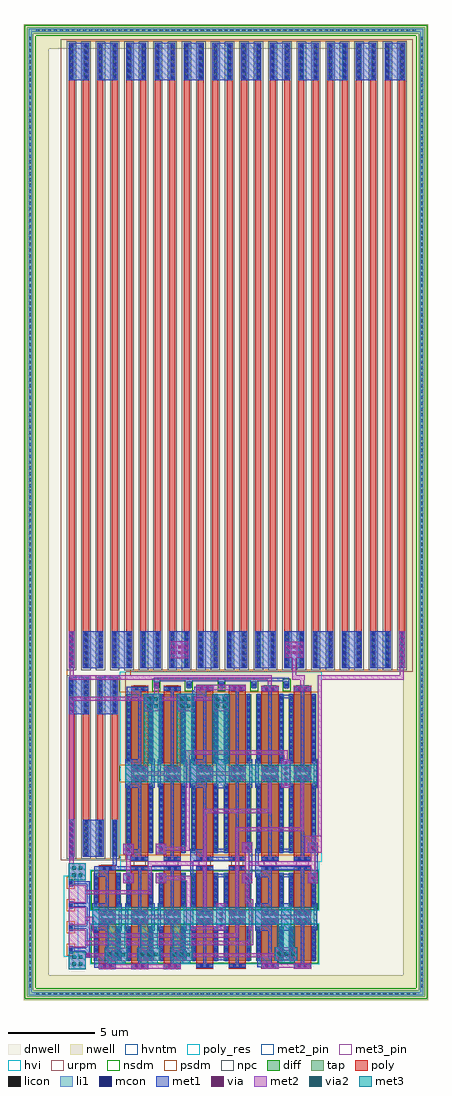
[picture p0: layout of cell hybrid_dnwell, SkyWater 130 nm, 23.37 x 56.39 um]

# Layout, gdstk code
import gdstk
lib = gdstk.Library(unit=1e-6, precision=1e-09)
def R(c, l, rs):  # rectangles x0, y0, x1, y1
    for r in rs: c.add(gdstk.rectangle(r[:2], r[2:], *l))
def A(c, l, x, y, w, h, nx, ny, dx, dy):  # array of equal rectangles
    R(c, l, [(x+i*dx, y+j*dy, x+i*dx+w, y+j*dy+h) for i in range(nx) for j in range(ny)])
dnwell = (64, 18)
nwell = (64, 20)
diff = (65, 20)
tap = (65, 44)
poly_res = (66, 13)
poly = (66, 20)
licon = (66, 44)
li1 = (67, 20)
mcon = (67, 44)
met1 = (68, 20)
via = (68, 44)
met2_pin = (69, 16)
met2 = (69, 20)
via2 = (69, 44)
met3_pin = (70, 16)
met3 = (70, 20)
hvi = (75, 20)
urpm = (79, 20)
nsdm = (93, 44)
psdm = (94, 20)
npc = (95, 20)
hvntm = (125, 20)

sky130_fd_pr__res_xhigh_ = lib.new_cell('sky130_fd_pr__res_xhigh_po_0p35_H47ZCG')
A(sky130_fd_pr__res_xhigh_, poly_res, -3.08, -16, 0.35, 32, 8, 1, 0.83, 0)
A(sky130_fd_pr__res_xhigh_, poly, -3.08, -18.08, 0.35, 36.16, 8, 1, 0.83, 0)
A(sky130_fd_pr__res_xhigh_, licon, -3, -18, 0.19, 2, 8, 2, 0.83, 34)
A(sky130_fd_pr__res_xhigh_, li1, -3.08, -18.08, 0.35, 2.16, 8, 2, 0.83, 34)
A(sky130_fd_pr__res_xhigh_, mcon, -2.99, -17.985, 0.17, 0.17, 8, 6, 0.83, 0.36)
A(sky130_fd_pr__res_xhigh_, mcon, -2.99, 16.01, 0.17, 0.17, 8, 6, 0.83, 0.36)
A(sky130_fd_pr__res_xhigh_, met1, -3.03, -18.05, 0.25, 2.105, 8, 2, 0.83, 33.995)
R(sky130_fd_pr__res_xhigh_, urpm, [(-3.54,-18.28,3.54,18.28)])
R(sky130_fd_pr__res_xhigh_, psdm, [(-3.19,-18.19,3.19,18.19)])
A(sky130_fd_pr__res_xhigh_, npc, -3.175, -18.175, 0.54, 36.35, 8, 1, 0.83, 0)

c_sky130_fd_pr__res_xhigh_ = lib.new_cell('sky130_fd_pr__res_xhigh_po_0p35_MDZYBC')
A(c_sky130_fd_pr__res_xhigh_, poly_res, -1.42, -3.125, 0.35, 6.25, 4, 1, 0.83, 0)
A(c_sky130_fd_pr__res_xhigh_, poly, -1.42, -5.205, 0.35, 10.41, 4, 1, 0.83, 0)
A(c_sky130_fd_pr__res_xhigh_, licon, -1.34, -5.125, 0.19, 2, 4, 2, 0.83, 8.25)
A(c_sky130_fd_pr__res_xhigh_, li1, -1.42, -5.205, 0.35, 2.16, 4, 2, 0.83, 8.25)
A(c_sky130_fd_pr__res_xhigh_, mcon, -1.33, -5.11, 0.17, 0.17, 4, 6, 0.83, 0.36)
A(c_sky130_fd_pr__res_xhigh_, mcon, -1.33, 3.135, 0.17, 0.17, 4, 6, 0.83, 0.36)
A(c_sky130_fd_pr__res_xhigh_, met1, -1.37, -5.175, 0.25, 2.105, 4, 2, 0.83, 8.245)
R(c_sky130_fd_pr__res_xhigh_, urpm, [(-1.88,-5.405,1.88,5.405)])
R(c_sky130_fd_pr__res_xhigh_, psdm, [(-1.53,-5.315,1.53,5.315)])
A(c_sky130_fd_pr__res_xhigh_, npc, -1.515, -5.3, 0.54, 10.6, 4, 1, 0.83, 0)

sky130_fd_pr__nfet_g5v0d = lib.new_cell('sky130_fd_pr__nfet_g5v0d10v5_H94GUP')
R(sky130_fd_pr__nfet_g5v0d, diff, [(-0.79,-2.545,0.79,-0.545), (-0.79,0.545,0.79,2.545)])
R(sky130_fd_pr__nfet_g5v0d, poly, [(-0.5,-2.985,0.5,-0.105), (-0.5,0.105,0.5,2.985)])
A(sky130_fd_pr__nfet_g5v0d, licon, -0.73, -2.48, 0.17, 0.17, 1, 6, 0, 0.34)
A(sky130_fd_pr__nfet_g5v0d, licon, 0.56, -2.48, 0.17, 0.17, 1, 6, 0, 0.34)
A(sky130_fd_pr__nfet_g5v0d, licon, -0.73, 0.61, 0.17, 0.17, 1, 6, 0, 0.34)
A(sky130_fd_pr__nfet_g5v0d, licon, 0.56, 0.61, 0.17, 0.17, 1, 6, 0, 0.34)
R(sky130_fd_pr__nfet_g5v0d, licon, [(-0.255,-2.905,-0.085,-2.735), (0.085,-2.905,0.255,-2.735), (-0.255,-0.355,-0.085,-0.185), (0.085,-0.355,0.255,-0.185), (-0.255,0.185,-0.085,0.355), (0.085,0.185,0.255,0.355), (-0.255,2.735,-0.085,2.905), (0.085,2.735,0.255,2.905)])
R(sky130_fd_pr__nfet_g5v0d, li1, [(-0.5,-2.905,0.5,-2.735), (-0.73,-2.565,-0.56,-0.525), (0.56,-2.565,0.73,-0.525), (-0.5,-0.355,0.5,-0.185), (-0.5,0.185,0.5,0.355), (-0.73,0.525,-0.56,2.565), (0.56,0.525,0.73,2.565), (-0.5,2.735,0.5,2.905)])
A(sky130_fd_pr__nfet_g5v0d, mcon, -0.73, -2.35, 0.17, 0.17, 1, 5, 0, 0.36)
A(sky130_fd_pr__nfet_g5v0d, mcon, 0.56, -2.35, 0.17, 0.17, 1, 5, 0, 0.36)
A(sky130_fd_pr__nfet_g5v0d, mcon, -0.73, 0.74, 0.17, 0.17, 1, 5, 0, 0.36)
A(sky130_fd_pr__nfet_g5v0d, mcon, 0.56, 0.74, 0.17, 0.17, 1, 5, 0, 0.36)
R(sky130_fd_pr__nfet_g5v0d, mcon, [(-0.265,-2.905,-0.095,-2.735), (0.095,-2.905,0.265,-2.735), (-0.265,-0.355,-0.095,-0.185), (0.095,-0.355,0.265,-0.185), (-0.265,0.185,-0.095,0.355), (0.095,0.185,0.265,0.355), (-0.265,2.735,-0.095,2.905), (0.095,2.735,0.265,2.905)])
R(sky130_fd_pr__nfet_g5v0d, met1, [(-0.48,-2.935,0.48,-2.705), (-0.76,-2.545,-0.53,-0.545), (0.53,-2.545,0.76,-0.545), (-0.48,-0.385,0.48,-0.155), (-0.48,0.155,0.48,0.385), (-0.76,0.545,-0.53,2.545), (0.53,0.545,0.76,2.545), (-0.48,2.705,0.48,2.935)])
R(sky130_fd_pr__nfet_g5v0d, hvi, [(-0.975,-2.73,0.975,-0.36), (-0.975,0.36,0.975,2.73)])
R(sky130_fd_pr__nfet_g5v0d, nsdm, [(-0.915,-2.67,0.915,-0.42), (-0.915,0.42,0.915,2.67)])
R(sky130_fd_pr__nfet_g5v0d, npc, [(-0.355,-3.005,0.355,-2.635), (-0.355,-0.455,0.355,0.455), (-0.355,2.635,0.355,3.005)])
R(sky130_fd_pr__nfet_g5v0d, hvntm, [(-0.975,-2.73,0.975,-0.36), (-0.975,0.36,0.975,2.73)])

sky130_fd_pr__pfet_g5v0d = lib.new_cell('sky130_fd_pr__pfet_g5v0d10v5_EFU7LQ')
R(sky130_fd_pr__pfet_g5v0d, nwell, [(-0.97,-5.09,0.97,-0.09), (-0.97,0.09,0.97,5.09)])
R(sky130_fd_pr__pfet_g5v0d, diff, [(-0.79,-4.59,0.79,-0.59), (-0.79,0.59,0.79,4.59)])
R(sky130_fd_pr__pfet_g5v0d, poly, [(-0.5,-5.075,0.5,-0.105), (-0.5,0.105,0.5,5.075)])
A(sky130_fd_pr__pfet_g5v0d, licon, -0.73, -4.375, 0.17, 0.17, 1, 11, 0, 0.34)
A(sky130_fd_pr__pfet_g5v0d, licon, 0.56, -4.375, 0.17, 0.17, 1, 11, 0, 0.34)
A(sky130_fd_pr__pfet_g5v0d, licon, -0.73, 0.805, 0.17, 0.17, 1, 11, 0, 0.34)
A(sky130_fd_pr__pfet_g5v0d, licon, 0.56, 0.805, 0.17, 0.17, 1, 11, 0, 0.34)
R(sky130_fd_pr__pfet_g5v0d, licon, [(-0.255,-4.995,-0.085,-4.825), (0.085,-4.995,0.255,-4.825), (-0.255,-0.355,-0.085,-0.185), (0.085,-0.355,0.255,-0.185), (-0.255,0.185,-0.085,0.355), (0.085,0.185,0.255,0.355), (-0.255,4.825,-0.085,4.995), (0.085,4.825,0.255,4.995)])
R(sky130_fd_pr__pfet_g5v0d, li1, [(-0.5,-4.995,0.5,-4.825), (-0.73,-4.61,-0.56,-0.57), (0.56,-4.61,0.73,-0.57), (-0.5,-0.355,0.5,-0.185), (-0.5,0.185,0.5,0.355), (-0.73,0.57,-0.56,4.61), (0.56,0.57,0.73,4.61), (-0.5,4.825,0.5,4.995)])
A(sky130_fd_pr__pfet_g5v0d, mcon, -0.73, -4.475, 0.17, 0.17, 1, 11, 0, 0.36)
A(sky130_fd_pr__pfet_g5v0d, mcon, 0.56, -4.475, 0.17, 0.17, 1, 11, 0, 0.36)
A(sky130_fd_pr__pfet_g5v0d, mcon, -0.73, 0.705, 0.17, 0.17, 1, 11, 0, 0.36)
A(sky130_fd_pr__pfet_g5v0d, mcon, 0.56, 0.705, 0.17, 0.17, 1, 11, 0, 0.36)
R(sky130_fd_pr__pfet_g5v0d, mcon, [(-0.265,-4.995,-0.095,-4.825), (0.095,-4.995,0.265,-4.825), (-0.265,-0.355,-0.095,-0.185), (0.095,-0.355,0.265,-0.185), (-0.265,0.185,-0.095,0.355), (0.095,0.185,0.265,0.355), (-0.265,4.825,-0.095,4.995), (0.095,4.825,0.265,4.995)])
R(sky130_fd_pr__pfet_g5v0d, met1, [(-0.48,-5.025,0.48,-4.795), (-0.76,-4.59,-0.53,-0.59), (0.53,-4.59,0.76,-0.59), (-0.48,-0.385,0.48,-0.155), (-0.48,0.155,0.48,0.385), (-0.76,0.59,-0.53,4.59), (0.53,0.59,0.76,4.59), (-0.48,4.795,0.48,5.025)])
R(sky130_fd_pr__pfet_g5v0d, hvi, [(-0.97,-5.09,0.97,-4.775), (-0.975,-4.775,0.975,-0.405), (-0.97,-0.405,0.97,0.405), (-0.975,0.405,0.975,4.775), (-0.97,4.775,0.97,5.09)])
R(sky130_fd_pr__pfet_g5v0d, psdm, [(-0.915,-4.715,0.915,-0.465), (-0.915,0.465,0.915,4.715)])
R(sky130_fd_pr__pfet_g5v0d, npc, [(-0.355,-5.095,0.355,-4.725), (-0.355,-0.455,0.355,0.455), (-0.355,4.725,0.355,5.095)])

opamp = lib.new_cell('opamp')
R(opamp, nwell, [(19,-2.16,30.66,7.62), (18.98,7.62,30.66,8.6)])
R(opamp, diff, [(28.27,-3.03,28.33,-2.81)])
A(opamp, tap, 16.05, -6.18, 0.21, 0.45, 1, 3, 0, 1.285)
A(opamp, tap, 20.99, 7.82, 0.21, 0.45, 5, 1, 1.88, 0)
R(opamp, tap, [(16.05,-7.47,16.26,-7.02)])
A(opamp, licon, 16.07, -6.04, 0.17, 0.17, 1, 3, 0, 1.285)
A(opamp, licon, 21.01, 7.96, 0.17, 0.17, 5, 1, 1.88, 0)
R(opamp, licon, [(16.07,-7.33,16.24,-7.16)])
A(opamp, li1, 16.05, -6.14, 0.21, 0.37, 1, 3, 0, 1.285)
A(opamp, li1, 20.99, 7.86, 0.21, 0.37, 5, 1, 1.88, 0)
R(opamp, li1, [(16.05,-7.43,16.26,-7.06)])
A(opamp, mcon, 16.07, -6.04, 0.17, 0.17, 1, 3, 0, 1.285)
A(opamp, mcon, 21.01, 7.96, 0.17, 0.17, 5, 1, 1.88, 0)
R(opamp, mcon, [(16.07,-7.33,16.24,-7.16)])
A(opamp, met1, 18.49, -7.9, 0.6, 0.6, 3, 1, 1.88, 0)
A(opamp, met1, 16.02, -6.15, 0.27, 0.1, 1, 3, 0, 1.285)
A(opamp, met1, 16.02, -6.05, 1.225, 0.19, 1, 3, 0, 1.285)
A(opamp, met1, 16.02, -5.86, 0.27, 0.09, 1, 3, 0, 1.285)
A(opamp, met1, 22.56, -4.76, 0.295, 0.19, 3, 1, 3.76, 0)
A(opamp, met1, 20.93, 7.88, 0.33, 0.385, 5, 1, 1.88, 0)
R(opamp, met1, [(17.75,-8.38,18.75,-8.29), (19.63,-8.38,20.63,-8.06), (21.51,-8.38,22.51,-8.06), (27.2,-8.34,28.1,-8.265), (29.08,-8.34,29.98,-8.02), (17.49,-8.29,18.75,-8.06), (25.675,-8.27,25.865,-5.74), (23.795,-8.265,23.985,-5.74), (26.91,-8.265,28.1,-8.02), (17.49,-8.06,18.35,-7.66), (20.035,-8.06,20.225,-5.74), (21.915,-8.06,22.105,-5.74), (26.91,-8.02,27.75,-7.67), (29.435,-8.02,29.625,-5.74), (28.18,-7.87,29,-7.27), (24.44,-7.85,25.215,-7.66), (17.02,-7.71,17.28,-7.39), (26.91,-7.67,27.1,-7.66), (27.555,-7.67,27.745,-6.14), (18.155,-7.66,18.35,-6.13), (16.06,-7.47,16.25,-7.44), (16.02,-7.44,16.29,-7.34), (17.02,-7.39,17.245,-7.34), (16.02,-7.34,17.245,-7.15), (16.02,-7.15,16.29,-7.06), (17.055,-7.15,17.245,-6.05), (16.06,-6.18,16.25,-6.15), (18.805,-6.155,19.105,-5.965), (19.285,-6.155,19.585,-5.965), (20.685,-6.155,20.985,-5.965), (26.325,-6.155,26.615,-5.965), (28.215,-6.15,28.88,-6.145), (21.165,-6.145,21.455,-5.955), (22.565,-6.145,22.855,-5.955), (26.795,-6.145,27.095,-6.14), (28.215,-6.145,28.975,-5.965), (17.395,-6.14,17.7,-6.13), (23.045,-6.14,23.34,-5.95), (24.445,-6.14,25.1,-6.135), (26.795,-6.14,27.745,-5.74), (24.445,-6.135,25.215,-5.955), (30.085,-6.135,30.375,-5.945), (17.395,-6.13,18.35,-5.74), (18.915,-5.965,19.105,-4.755), (19.285,-5.965,19.475,-4.76), (20.795,-5.965,20.985,-4.76), (26.425,-5.965,26.615,-4.76), (28.315,-5.965,28.975,-5.955), (21.165,-5.955,21.355,-4.755), (22.665,-5.955,22.855,-4.76), (24.545,-5.955,25.215,-5.945), (28.315,-5.955,28.88,-4.76), (23.045,-5.95,23.235,-4.755), (24.545,-5.945,25.105,-4.76), (30.185,-5.945,30.375,-4.76), (17.055,-5.86,17.245,-4.765), (17.395,-5.74,18.75,-4.97), (19.63,-5.74,20.63,-4.97), (21.51,-5.74,22.51,-4.97), (23.41,-5.74,24.37,-4.97), (25.29,-5.74,26.25,-4.97), (26.795,-5.74,28.13,-4.96), (29.05,-5.74,30.01,-4.97), (17.395,-4.97,18.35,-4.565), (20.035,-4.97,20.225,-2.65), (21.915,-4.97,22.105,-2.65), (23.795,-4.97,23.985,-2.44), (25.675,-4.97,25.865,-2.445), (29.435,-4.97,29.625,-2.63), (26.795,-4.96,27.745,-4.57), (16.06,-4.895,16.25,-4.865), (19.285,-4.76,19.58,-4.57), (20.68,-4.76,20.985,-4.57), (24.44,-4.76,25.22,-4.57), (28.2,-4.76,28.98,-4.57), (18.8,-4.755,19.105,-4.565), (21.165,-4.755,21.46,-4.565), (23.045,-4.755,23.345,-4.565), (17.055,-4.575,17.245,-3.48), (27.555,-4.57,27.745,-3.06), (17.4,-4.565,18.35,-4.56), (18.155,-4.56,18.35,-3.04), (16.06,-3.615,16.25,-3.58), (19.18,-3.42,19.78,-2.82), (21.06,-3.42,21.66,-2.82), (26.02,-3.42,26.63,-2.82), (29.83,-3.42,30.43,-2.81), (26.81,-3.06,27.75,-3.055), (23.035,-3.055,23.335,-2.865), (26.805,-3.055,27.75,-2.63), (24.44,-3.05,25.225,-2.86), (28.2,-3.05,28.975,-2.86), (17.49,-3.04,18.35,-2.65), (23.035,-2.865,23.225,-2.1), (26.44,-2.82,26.63,-1.65), (30.235,-2.81,30.43,-1.66), (17.49,-2.65,22.51,-2.42), (26.805,-2.63,29.635,-2.44), (26.805,-2.44,27.75,-2.42), (18.56,-2.42,18.81,-1.8), (26.805,-2.42,26.995,-1.605), (23.035,-2.1,26.25,-1.87), (20.035,-2.075,20.225,-2.06), (21.915,-2.075,22.105,2.54), (29.435,-2.075,29.625,2.575), (27.555,-2.065,27.745,2.55), (19.4,-2.06,20.23,-1.72), (16.02,-1.92,16.37,0.3), (16.85,-1.89,18.04,0.27), (23.035,-1.87,23.99,-1.43), (25.675,-1.87,25.865,2.54), (18.655,-1.8,18.715,-0.78), (19.18,-1.72,20.23,-1.43), (21.06,-1.72,21.67,-1.12), (29.83,-1.66,30.43,-1.06), (26.02,-1.65,26.63,-1.05), (24.44,-1.61,25.205,-1.42), (28.2,-1.61,28.975,-1.42), (26.805,-1.605,27.1,-1.415), (19.18,-1.43,19.79,-1.12), (20.035,-1.43,20.225,2.1), (23.035,-1.43,23.34,-1.42), (23.795,-1.43,23.985,2.1), (24.55,2.09,25.1,2.095), (19.285,2.095,19.58,2.1), (24.425,2.095,25.1,2.105), (28.655,2.095,28.955,2.1), (30.085,2.095,30.375,2.285), (19.285,2.1,20.225,2.54), (23.05,2.1,23.985,2.105), (28.2,2.1,28.955,2.285), (22.575,2.105,22.865,2.295), (23.045,2.105,23.985,2.11), (24.425,2.105,25.225,2.285), (26.325,2.105,26.635,2.295), (26.805,2.105,27.105,2.295), (23.045,2.11,23.99,2.54), (20.695,2.115,20.985,2.305), (21.165,2.135,21.455,2.325), (24.545,2.285,25.225,2.295), (28.2,2.285,28.845,2.29), (30.185,2.285,30.375,3.57), (28.305,2.29,28.845,2.83), (22.675,2.295,22.865,3.57), (24.545,2.295,25.105,3.57), (26.445,2.295,26.635,3.57), (26.805,2.295,26.995,3.575), (20.795,2.305,20.985,3.585), (21.165,2.325,21.355,3.57), (19.285,2.54,20.63,3.32), (21.51,2.54,22.51,3.32), (23.045,2.54,24.37,3.32), (25.29,2.54,26.25,3.32), (27.18,2.55,28.12,3.31), (29.11,2.575,29.95,3.285), (28.305,2.83,28.855,3.02), (28.305,3.02,28.845,3.565), (29.435,3.285,29.625,7.915), (27.555,3.31,27.745,7.935), (19.285,3.32,20.225,3.76), (21.915,3.32,22.105,7.925), (23.045,3.32,23.985,3.765), (25.675,3.32,25.865,7.72), (28.185,3.565,28.845,3.57), (21.165,3.57,21.46,3.76), (22.56,3.57,22.865,3.76), (24.44,3.57,25.105,3.575), (26.32,3.57,26.635,3.76), (28.185,3.57,28.98,3.755), (30.08,3.57,30.375,3.76), (24.44,3.575,25.22,3.76), (26.805,3.575,27.1,3.765), (20.68,3.585,20.985,3.775), (28.655,3.755,28.98,3.76), (19.285,3.76,19.575,3.765), (20.035,3.76,20.225,7.29), (23.05,3.765,23.985,3.77), (23.795,3.77,23.985,7.29), (16.02,6.36,17.21,8.52), (17.68,6.36,18.87,8.52), (20.37,6.93,20.97,7.53), (22.26,6.93,22.86,7.53), (24.43,6.98,25.24,7.52), (28.2,7.28,28.975,7.47), (19.37,7.29,20.23,7.95), (23.16,7.29,23.985,7.72), (23.16,7.72,24.37,7.74), (25.29,7.72,26.25,8.05), (23.28,7.74,24.37,7.95), (23.41,7.95,24.37,8.05), (20.93,8.265,28.78,8.455)])
A(opamp, via, 18.715, -7.675, 0.15, 0.15, 3, 1, 1.88, 0)
A(opamp, via, 24.75, -5.915, 0.15, 0.15, 1, 4, 0, 0.32)
A(opamp, via, 16.12, -1.685, 0.15, 0.15, 1, 6, 0, 0.32)
A(opamp, via, 28.5, 2.215, 0.15, 0.15, 1, 5, 0, 0.32)
R(opamp, via, [(18.015,-8.295,18.165,-8.145), (18.335,-8.295,18.485,-8.145), (19.895,-8.295,20.045,-8.145), (20.215,-8.295,20.365,-8.145), (21.775,-8.295,21.925,-8.145), (22.095,-8.295,22.245,-8.145), (27.415,-8.255,27.565,-8.105), (27.735,-8.255,27.885,-8.105), (29.295,-8.255,29.445,-8.105), (29.615,-8.255,29.765,-8.105), (28.355,-7.645,28.505,-7.495), (28.675,-7.645,28.825,-7.495), (17.075,-7.625,17.225,-7.475), (18.015,-5.59,18.165,-5.44), (18.335,-5.59,18.485,-5.44), (19.895,-5.59,20.045,-5.44), (20.215,-5.59,20.365,-5.44), (21.775,-5.59,21.925,-5.44), (22.095,-5.59,22.245,-5.44), (23.655,-5.59,23.805,-5.44), (23.975,-5.59,24.125,-5.44), (25.535,-5.59,25.685,-5.44), (25.855,-5.59,26.005,-5.44), (27.415,-5.59,27.565,-5.44), (27.735,-5.59,27.885,-5.44), (29.295,-5.59,29.445,-5.44), (29.615,-5.59,29.765,-5.44), (18.015,-5.27,18.165,-5.12), (18.335,-5.27,18.485,-5.12), (19.895,-5.27,20.045,-5.12), (20.215,-5.27,20.365,-5.12), (21.775,-5.27,21.925,-5.12), (22.095,-5.27,22.245,-5.12), (23.655,-5.27,23.805,-5.12), (23.975,-5.27,24.125,-5.12), (25.535,-5.27,25.685,-5.12), (25.855,-5.27,26.005,-5.12), (27.415,-5.27,27.565,-5.12), (27.735,-5.27,27.885,-5.12), (29.295,-5.27,29.445,-5.12), (29.615,-5.27,29.765,-5.12), (26.25,-3.2,26.4,-3.05), (19.405,-3.195,19.555,-3.045), (21.285,-3.195,21.435,-3.045), (30.06,-3.185,30.21,-3.035), (19.405,-1.495,19.555,-1.345), (21.285,-1.495,21.435,-1.345), (30.06,-1.435,30.21,-1.285), (26.25,-1.425,26.4,-1.275), (19.895,2.695,20.045,2.845), (20.215,2.695,20.365,2.845), (21.775,2.695,21.925,2.845), (22.095,2.695,22.245,2.845), (23.655,2.695,23.805,2.845), (23.975,2.695,24.125,2.845), (25.535,2.695,25.685,2.845), (25.855,2.695,26.005,2.845), (27.415,2.695,27.565,2.845), (27.735,2.695,27.885,2.845), (29.295,2.695,29.445,2.845), (29.615,2.695,29.765,2.845), (19.895,3.015,20.045,3.165), (20.215,3.015,20.365,3.165), (21.775,3.015,21.925,3.165), (22.095,3.015,22.245,3.165), (23.655,3.015,23.805,3.165), (23.975,3.015,24.125,3.165), (25.535,3.015,25.685,3.165), (25.855,3.015,26.005,3.165), (27.415,3.015,27.565,3.165), (27.735,3.015,27.885,3.165), (29.295,3.015,29.445,3.165), (29.615,3.015,29.765,3.165), (20.595,7.155,20.745,7.305), (22.485,7.155,22.635,7.305), (24.6,7.175,24.75,7.325), (24.92,7.175,25.07,7.325), (23.655,7.81,23.805,7.96), (23.975,7.81,24.125,7.96), (25.535,7.81,25.685,7.96), (25.855,7.81,26.005,7.96), (21.02,7.975,21.17,8.125)])
R(opamp, met2_pin, [(16.02,-7.11,17.02,-6.11), (16.02,-5.81,17.02,-4.81), (16.02,-4.53,17.02,-3.53), (29.66,-1.65,30.66,-0.65)])
A(opamp, met2, 17.75, -8.38, 1, 0.035, 3, 2, 1.88, 0.285)
A(opamp, met2, 17.75, -5.74, 1, 0.26, 3, 2, 1.88, 0.51)
R(opamp, met2, [(16.02,-8.38,17.02,-7.69), (17.75,-8.345,22.51,-8.095), (27.17,-8.34,28.15,-8.3), (29.03,-8.34,30.02,-8.3), (27.17,-8.3,30.02,-8.05), (27.17,-8.05,28.15,-8.02), (29.03,-8.05,30.02,-8.02), (18.12,-7.91,19.44,-7.69), (20,-7.9,21.32,-7.69), (21.88,-7.9,23.2,-7.69), (27.92,-7.88,29.24,-7.69), (16.02,-7.69,29.24,-7.45), (16.02,-7.45,17.31,-7.42), (18.12,-7.45,19.44,-7.15), (20,-7.45,21.32,-7.14), (21.88,-7.45,23.2,-7.14), (27.92,-7.45,29.24,-7.12), (16.02,-7.42,17.02,-7.38), (16.02,-7.11,17.02,-6.995), (16.02,-6.995,26.685,-6.745), (16.02,-6.745,17.02,-6.11), (26.435,-6.745,26.685,-4.575), (17.22,-6.55,25.89,-6.31), (17.22,-6.31,17.46,-5.59), (25.65,-6.31,25.89,-5.74), (22.83,-6.13,25.105,-5.89), (22.83,-5.89,23.07,-3.23), (24.545,-5.89,25.105,-4.57), (16.02,-5.81,17.02,-5.59), (23.41,-5.74,24.37,-4.97), (25.29,-5.74,26.25,-4.97), (27.16,-5.74,28.13,-5.48), (29.05,-5.74,30.01,-5.48), (16.02,-5.59,17.46,-5.35), (17.75,-5.48,22.51,-5.23), (27.16,-5.48,30.01,-5.23), (16.02,-5.35,17.02,-4.81), (27.16,-5.23,28.13,-4.96), (29.05,-5.23,30.01,-4.97), (23.76,-4.97,24,-2.39), (25.64,-4.97,25.88,-0.4), (26.2,-4.575,26.685,-4.325), (16.02,-4.53,17.02,-4.04), (26.2,-4.325,26.45,-3.42), (16.02,-4.04,20.82,-3.8), (16.02,-3.8,17.02,-3.53), (20.58,-3.8,20.82,-2.39), (19.18,-3.42,19.78,-2.82), (21.06,-3.42,21.66,-3.23), (26.02,-3.42,26.63,-2.82), (29.83,-3.42,30.43,-2.81), (16.02,-3.24,17.02,-2.24), (21.06,-3.23,23.07,-2.99), (21.06,-2.99,21.66,-2.82), (19.355,-2.82,19.605,-1.72), (26.2,-2.82,26.45,-2.385), (30.01,-2.81,30.26,-2.385), (20.58,-2.39,24,-2.15), (26.2,-2.385,30.26,-2.135), (16.07,-2.24,16.32,-1.92), (23.76,-2.15,24,0.65), (26.2,-2.135,26.45,-1.65), (30.01,-2.135,30.26,-1.65), (16.02,-1.92,16.37,0.3), (19.18,-1.72,19.79,-1.12), (21.06,-1.72,21.67,-1.54), (26.02,-1.65,26.63,-1.05), (29.66,-1.65,30.66,-0.65), (21.06,-1.54,23.03,-1.3), (21.06,-1.3,21.67,-1.12), (22.79,-1.3,23.03,4.03), (25.64,-0.4,29.65,-0.16), (29.41,-0.16,29.65,2.55), (16.07,0.3,16.31,7.13), (23.76,0.65,27.77,0.89), (27.53,0.89,27.77,2.55), (28.31,2.11,28.84,3.75), (19.63,2.54,20.63,2.805), (21.51,2.54,22.51,2.805), (23.41,2.54,24.37,2.805), (25.29,2.54,26.25,2.805), (27.18,2.55,28.12,3.31), (29.05,2.55,30.01,3.31), (19.63,2.805,22.51,3.055), (23.41,2.805,26.25,3.055), (19.63,3.055,20.63,3.32), (21.51,3.055,22.51,3.32), (23.41,3.055,24.37,3.32), (25.29,3.055,26.25,3.32), (28.455,3.75,28.695,4.03), (22.79,4.03,28.695,4.27), (24.32,6.52,25.32,7.13), (20.37,6.53,21.37,7.13), (22.26,6.53,23.26,7.13), (16.07,7.13,25.32,7.37), (20.37,7.37,21.37,7.53), (22.26,7.37,23.26,7.53), (24.32,7.37,25.32,7.52), (20.97,7.53,21.22,7.92), (23.41,7.73,26.25,8.05), (20.935,7.92,21.255,8.18)])
A(opamp, via2, 18.28, -7.63, 0.2, 0.2, 3, 1, 0.4, 0)
A(opamp, via2, 20.16, -7.62, 0.2, 0.2, 3, 1, 0.4, 0)
A(opamp, via2, 22.04, -7.62, 0.2, 0.2, 3, 1, 0.4, 0)
A(opamp, via2, 28.08, -7.6, 0.2, 0.2, 3, 1, 0.4, 0)
R(opamp, via2, [(16.22,-8.18,16.42,-7.98), (16.62,-8.18,16.82,-7.98), (16.22,-7.78,16.42,-7.58), (16.62,-7.78,16.82,-7.58), (16.22,-3.04,16.42,-2.84), (16.62,-3.04,16.82,-2.84), (16.22,-2.64,16.42,-2.44), (16.62,-2.64,16.82,-2.44), (24.52,6.72,24.72,6.92), (24.92,6.72,25.12,6.92), (20.57,6.73,20.77,6.93), (20.97,6.73,21.17,6.93), (22.46,6.73,22.66,6.93), (22.86,6.73,23.06,6.93), (24.52,7.12,24.72,7.32), (24.92,7.12,25.12,7.32), (20.57,7.13,20.77,7.33), (20.97,7.13,21.17,7.33), (22.46,7.13,22.66,7.33), (22.86,7.13,23.06,7.33)])
R(opamp, met3_pin, [(16.02,-8.38,17.02,-7.38), (18.12,-7.91,19.44,-7.15), (20,-7.9,21.32,-7.14), (21.88,-7.9,23.2,-7.14), (27.92,-7.88,29.24,-7.12), (17.4,-5.81,30.37,-4.81), (16.02,-3.24,17.02,-2.24), (19.28,2.44,30.37,3.44), (24.32,6.52,25.32,7.52), (20.37,6.53,21.37,7.53), (22.26,6.53,23.26,7.53)])
R(opamp, met3, [(16.02,-8.38,17.02,-7.38), (18.28,-8.03,19.28,-7.91), (20.16,-8.02,21.16,-7.9), (22.04,-8.02,23.04,-7.9), (28.08,-8,29.08,-7.88), (18.12,-7.91,19.44,-7.15), (20,-7.9,21.32,-7.14), (21.88,-7.9,23.2,-7.14), (27.92,-7.88,29.24,-7.12), (18.28,-7.15,19.28,-5.81), (20.16,-7.14,21.16,-5.81), (22.04,-7.14,23.04,-5.81), (28.08,-7.12,29.08,-5.81), (17.4,-5.81,30.37,-4.81), (16.02,-3.24,17.02,-2.24), (19.28,2.44,30.37,3.44), (20.37,3.44,21.37,7.53), (22.26,3.44,23.26,7.53), (24.32,3.44,25.32,7.52)])
R(opamp, hvi, [(15.735,-7.655,16.575,-2.975), (27.88,-3.215,28.72,-2.625), (19,-2.625,30.505,-2.16), (19,-2.16,30.66,7.62), (18.98,7.62,30.66,8.6)])
A(opamp, nsdm, 19.165, -8.025, 0.05, 2.25, 6, 2, 1.88, 3.09)
A(opamp, nsdm, 20.865, 7.695, 0.46, 0.7, 5, 1, 1.88, 0)
R(opamp, nsdm, [(28.145,-3.155,28.455,-2.685)])
A(opamp, psdm, 15.925, -6.305, 0.46, 0.7, 1, 3, 0, 1.285)
A(opamp, psdm, 21.045, -1.785, 0.05, 4.25, 5, 2, 1.88, 5.18)
R(opamp, psdm, [(15.925,-7.595,16.385,-6.895), (18.97,-1.785,19.215,2.465), (18.97,3.395,19.215,7.645)])
A(opamp, npc, 19.775, -2.35, 0.71, 0.185, 6, 1, 1.88, 0)
opamp.add(gdstk.Reference(c_sky130_fd_pr__res_xhigh_, (17.44,3.315), x_reflection=True))
opamp.add(gdstk.Reference(sky130_fd_pr__nfet_g5v0d, (18.25,-5.355)))
opamp.add(gdstk.Reference(sky130_fd_pr__pfet_g5v0d, (20.13,2.93)))
opamp.add(gdstk.Reference(sky130_fd_pr__nfet_g5v0d, (20.13,-5.355)))
opamp.add(gdstk.Reference(sky130_fd_pr__nfet_g5v0d, (22.01,-5.355)))
opamp.add(gdstk.Reference(sky130_fd_pr__pfet_g5v0d, (22.01,2.93)))
opamp.add(gdstk.Reference(sky130_fd_pr__nfet_g5v0d, (23.89,-5.355)))
opamp.add(gdstk.Reference(sky130_fd_pr__pfet_g5v0d, (23.89,2.93)))
opamp.add(gdstk.Reference(sky130_fd_pr__nfet_g5v0d, (27.65,-5.355)))
opamp.add(gdstk.Reference(sky130_fd_pr__nfet_g5v0d, (25.77,-5.355)))
opamp.add(gdstk.Reference(sky130_fd_pr__pfet_g5v0d, (27.65,2.93)))
opamp.add(gdstk.Reference(sky130_fd_pr__pfet_g5v0d, (25.77,2.93)))
opamp.add(gdstk.Reference(sky130_fd_pr__pfet_g5v0d, (29.53,2.93)))
opamp.add(gdstk.Reference(sky130_fd_pr__nfet_g5v0d, (29.53,-5.355)))
opamp.add(gdstk.Label('N', (16.52,-5.31), layer=69, texttype=5))
opamp.add(gdstk.Label('P', (16.52,-4.03), layer=69, texttype=5))
opamp.add(gdstk.Label('OUT', (16.52,-6.61), layer=69, texttype=5))
opamp.add(gdstk.Label('OUT', (30.16,-1.15), layer=69, texttype=5))
opamp.add(gdstk.Label('VSS', (16.52,-7.88), layer=70, texttype=5))
opamp.add(gdstk.Label('VSS', (18.78,-7.53), layer=70, texttype=5))
opamp.add(gdstk.Label('VSS', (20.66,-7.52), layer=70, texttype=5))
opamp.add(gdstk.Label('VSS', (22.54,-7.52), layer=70, texttype=5))
opamp.add(gdstk.Label('VSS', (28.58,-7.5), layer=70, texttype=5))
opamp.add(gdstk.Label('VSS', (23.885,-5.31), layer=70, texttype=5))
opamp.add(gdstk.Label('VDD', (16.52,-2.74), layer=70, texttype=5))
opamp.add(gdstk.Label('VDD', (24.825,2.94), layer=70, texttype=5))
opamp.add(gdstk.Label('VDD', (24.82,7.02), layer=70, texttype=5))
opamp.add(gdstk.Label('VDD', (20.87,7.03), layer=70, texttype=5))
opamp.add(gdstk.Label('VDD', (22.76,7.03), layer=70, texttype=5))

hybrid = lib.new_cell('hybrid')
R(hybrid, nwell, [(18.98,0.6,30.66,0.805)])
A(hybrid, met1, 16.85, 1, 1.18, 2.16, 11, 1, 1.66, 0)
A(hybrid, met1, 16.02, 35, 1.18, 2.16, 12, 1, 1.66, 0)
R(hybrid, met1, [(27.17,-0.32,28.13,0), (29.05,-0.32,30.01,0), (16.02,1,16.37,3.16), (35.11,1,35.46,3.16)])
A(hybrid, via, 16.12, 1.205, 0.15, 0.15, 1, 6, 0, 0.32)
A(hybrid, via, 35.21, 1.205, 0.15, 0.15, 1, 6, 0, 0.32)
A(hybrid, via, 22.025, 1.845, 0.15, 0.15, 3, 2, 0.32, 0.32)
A(hybrid, via, 28.665, 1.845, 0.15, 0.15, 3, 2, 0.32, 0.32)
R(hybrid, via, [(27.415,-0.235,27.565,-0.085), (27.735,-0.235,27.885,-0.085), (29.295,-0.235,29.445,-0.085), (29.615,-0.235,29.765,-0.085)])
R(hybrid, met2_pin, [(16.02,-16.38,17.02,-15.38), (16.02,-15.11,17.02,-14.11), (16.02,-12.53,17.02,-11.53), (16.02,-11.24,17.02,-10.24), (21.92,1.58,22.92,2.58)])
R(hybrid, met2, [(16.02,-16.38,17.02,-15.38), (16.02,-15.11,17.02,-14.11), (16.02,-12.53,17.02,-11.53), (16.02,-11.24,17.02,-10.24), (30.42,-9.65,30.66,0.36), (27.17,-0.32,28.13,0), (29.05,-0.32,30.01,0), (27.53,0,27.77,0.36), (29.41,0,29.65,0.355), (28.935,0.355,29.655,0.6), (16.075,0.36,27.77,0.6), (30.42,0.36,35.4,0.6), (16.075,0.6,16.315,1), (28.935,0.6,29.18,1.61), (35.16,0.6,35.4,1), (16.02,1,16.37,3.16), (35.11,1,35.46,3.16), (21.92,1.58,22.92,2.58), (28.53,1.61,29.59,2.55)])
R(hybrid, hvi, [(18.98,0.6,30.66,0.805)])
R(hybrid, urpm, [(15.56,0.72,19.32,0.8)])
R(hybrid, psdm, [(18.97,0.57,19.61,0.63), (15.91,0.63,19.61,0.89), (22.29,0.89,22.55,37.27), (28.93,0.89,29.19,37.27)])
hybrid.add(gdstk.Reference(sky130_fd_pr__res_xhigh_, (32.38,19.08)))
hybrid.add(gdstk.Reference(sky130_fd_pr__res_xhigh_, (19.1,19.08)))
hybrid.add(gdstk.Reference(opamp, (0,-8)))
hybrid.add(gdstk.Reference(sky130_fd_pr__res_xhigh_, (25.74,19.08)))
hybrid.add(gdstk.Label('VSS', (16.52,-15.88), layer=69, texttype=5))
hybrid.add(gdstk.Label('VDD', (16.52,-10.74), layer=69, texttype=5))
hybrid.add(gdstk.Label('OUT', (16.52,-14.61), layer=69, texttype=5))
hybrid.add(gdstk.Label('LINE', (16.52,-12.03), layer=69, texttype=5))
hybrid.add(gdstk.Label('IN', (22.42,2.08), layer=69, texttype=5))

hybrid_dnwell = lib.new_cell('hybrid_dnwell')
R(hybrid_dnwell, dnwell, [(-2.19,-1.375,20.38,54.22)])
R(hybrid_dnwell, nwell, [(-2.59,-1.775,20.78,-0.345), (-2.59,-0.345,-1.16,53.19), (19.35,-0.345,20.78,53.19), (-2.59,53.19,20.78,54.62)])
R(hybrid_dnwell, tap, [(-2.405,-1.59,20.595,-1.22), (-2.405,-1.22,-2.035,54.065), (20.225,-1.22,20.595,54.065), (-2.405,54.065,20.595,54.435)])
A(hybrid_dnwell, licon, -1.87, -1.49, 0.17, 0.17, 65, 2, 0.34, 55.655)
A(hybrid_dnwell, licon, -2.305, -1.035, 0.17, 0.17, 1, 162, 0, 0.34)
A(hybrid_dnwell, licon, 20.325, -1.035, 0.17, 0.17, 1, 162, 0, 0.34)
R(hybrid_dnwell, li1, [(-2.305,-1.49,20.495,-1.32), (-2.305,-1.32,-2.135,54.165), (20.325,-1.32,20.495,54.165), (-2.305,54.165,20.495,54.335)])
R(hybrid_dnwell, nsdm, [(-2.53,-1.715,20.72,-1.095), (-2.53,-1.095,-1.91,53.94), (20.1,-1.095,20.72,53.94), (-2.53,53.94,20.72,54.56)])
hybrid_dnwell.add(gdstk.Reference(hybrid, (-16.02,16.38)))

lib.write_gds('hybrid_dnwell.gds')
